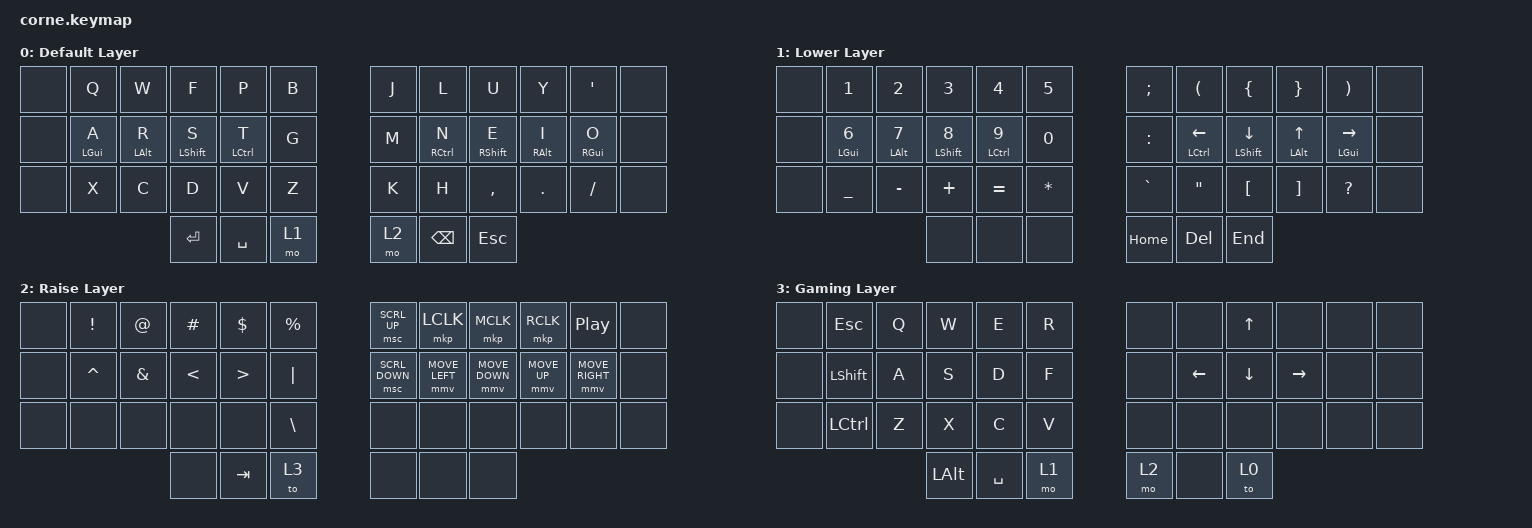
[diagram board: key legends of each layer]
/*
 * Copyright (c) 2020 The ZMK Contributors
 *
 * SPDX-License-Identifier: MIT
 */

#define ZMK_POINTING_DEFAULT_MOVE_VAL 1000
#define ZMK_POINTING_DEFAULT_SCRL_VAL 20

#include <behaviors.dtsi>
#include <dt-bindings/zmk/keys.h>
#include <dt-bindings/zmk/pointing.h>

/ {
    behaviors {
        hml: home_row_mod_left {
            compatible = "zmk,behavior-hold-tap";
            #binding-cells = <2>;
            flavor = "balanced";
            require-prior-idle-ms = <150>;
            tapping-term-ms = <280>;
            quick-tap-ms = <175>;
            bindings = <&kp>, <&kp>;
            hold-trigger-key-positions = < 
				6  7  8  9  10 11
				18 19 20 21 22 23
				30 31 32 33 34 35
				39 40 41
			>;
            hold-trigger-on-release;
        };
        hmr: home_row_mod_right {
            compatible = "zmk,behavior-hold-tap";
            #binding-cells = <2>;
            flavor = "balanced";
            require-prior-idle-ms = <150>;
            tapping-term-ms = <280>;
            quick-tap-ms = <175>;
            bindings = <&kp>, <&kp>;
            hold-trigger-key-positions = < 
				0  1  2  3  4  5
				12 13 14 15 16 17
				24 25 26 27 28 29
				36 37 38
				34
			>;
            hold-trigger-on-release;
        };
    };
};

/ {
        keymap {
                compatible = "zmk,keymap";

                default_layer {
                        display-name = "Default Layer";
// -----------------------------------------------------------------------------------------
// || Q       | W       | F         | P        | B    |          | J    | L        | U         | Y       | '       ||
// || A (GUI) | R (ALT) | S (SHIFT) | T (CTRL) | G    |          | M    | N (CTRL) | E (SHIFT) | I (ALT) | O (GUI) ||
// || X       | C       | D         | V        | Z    |          | K    | H        | ,         | .       | /       ||
//                      | ENTER     | SPACE    | LYR2 |          | LYR3 | BSPC     | ESC       |
                        bindings = <
	&none &kp Q       &kp W       &kp F         &kp P        &kp B          &kp J &kp L        &kp U         &kp Y       &kp SQT     &none
	&none &hml LGUI A &hml LALT R &hml LSHIFT S &hml LCTRL T &kp G          &kp M &hmr RCTRL N &hmr RSHIFT E &hmr RALT I &hmr RGUI O &none
	&none &kp X       &kp C       &kp D         &kp V        &kp Z          &kp K &kp H        &kp COMMA     &kp DOT     &kp SLASH   &none
						          &kp RET       &kp SPACE    &mo 1          &mo 2 &kp BSPC     &kp ESC
                        >;
                };

                lower_layer {
                        display-name = "Lower Layer";
// -----------------------------------------------------------------------------------------
// || 1       | 2       | 3         | 4        | 5    |          | ;    | (          | {           | }        | )         ||
// || 6 (GUI) | 7 (ALT) | 8 (SHIFT) | 9 (CTRL) | 0    |          | :    | LFT (CTRL) | DWN (SHIFT) | UP (ALT) | RGT (GUI) ||
// || _       | -       | +         | =        | *    |          | `    | "          | [           | ]        | ?         ||
//                      |           |          |      |          | HOME | DELETE     | END         |
                        bindings = <
	&none &kp N1       &kp N2       &kp N3         &kp N4        &kp N5             &kp SEMI  &kp LPAR        &kp LBRC          &kp RBRC        &kp RPAR        &none
	&none &hml LGUI N6 &hml LALT N7 &hml LSHIFT N8 &hml LCTRL N9 &kp N0             &kp COLON &hmr LCTRL LEFT &hmr LSHIFT DOWN  &hmr LALT UP    &hmr LGUI RIGHT &none
	&none &kp UNDER    &kp MINUS    &kp PLUS       &kp EQUAL     &kp ASTRK          &kp GRAVE &kp DQT         &kp LBKT          &kp RBKT        &kp QUESTION    &none
                                    &none          &none         &none              &kp HOME  &kp DELETE      &kp END
                        >;
                };

                raise_layer {
                        display-name = "Raise Layer";
// -----------------------------------------------------------------------------------------
// ||  !  |  @  |  #  |  $  | %    |          | SCRL UP   | LMB    | MMB    | RMB  | PLAY/PAUSE ||
// ||  ^  |  &  |  <  |  >  | |    |          | SCRL DOWN | M LEFT | M DOWN | M UP | M RIGHT    ||
// ||     |     |     |     | \    |          |           |        |        |      |            ||
//			    |     | TAB |      |          |           |        |        | 
                        bindings = <
	&none &kp EXCL  &kp AT   &kp HASH &kp DLLR &kp PRCNT          &msc SCRL_UP   &mkp LCLK      &mkp MCLK      &mkp RCLK    &kp C_PLAY_PAUSE &none
	&none &kp CARET &kp AMPS &kp LT   &kp GT   &kp PIPE           &msc SCRL_DOWN &mmv MOVE_LEFT &mmv MOVE_DOWN &mmv MOVE_UP &mmv MOVE_RIGHT  &none
	&none &none     &none    &none    &none    &kp BSLH           &none          &none          &none          &none        &none            &none
                             &none    &kp TAB  &to 3              &none          &none          &none 
                        >;
                };

                gaming_layer {
                        display-name = "Gaming Layer";
// -----------------------------------------------------------------------------------------
// || Q       | W       | F         | P        | B    |          | J    | L        | U         | Y       | '       ||
// || A (GUI) | R (ALT) | S (SHIFT) | T (CTRL) | G    |          | M    | N (CTRL) | E (SHIFT) | I (ALT) | O (GUI) ||
// || X       | C       | D         | V        | Z    |          | K    | H        | ,         | .       | /       ||
//                      | ENTER     | SPACE    | LYR2 |          | LYR3 | BSPC     | ESC       |
                        bindings = <
	&none &kp ESC    &kp Q &kp W    &kp E     &kp R          &none &none    &kp UP   &none     &none &none
	&none &kp LSHIFT &kp A &kp S    &kp D     &kp F          &none &kp LEFT &kp DOWN &kp RIGHT &none &none
	&none &kp LCTRL  &kp Z &kp X    &kp C     &kp V          &none &none    &none    &none     &none &none
				           &kp LALT &kp SPACE &mo 1          &mo 2 &none    &to 0
                        >;
                };
        };
};
